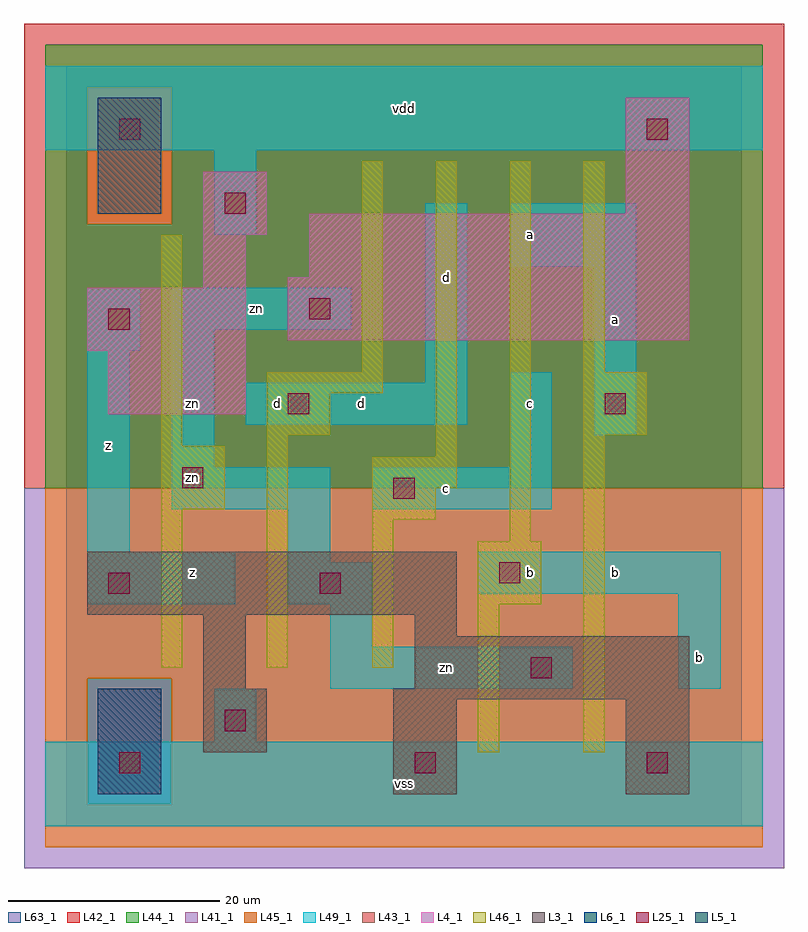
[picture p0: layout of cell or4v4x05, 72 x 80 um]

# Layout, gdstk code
import gdstk
lib = gdstk.Library(unit=1e-6, precision=1e-09)
def R(c, l, rs):  # rectangles x0, y0, x1, y1
    for r in rs: c.add(gdstk.rectangle(r[:2], r[2:], *l))
L3_1 = (3, 1)
L4_1 = (4, 1)
L5_1 = (5, 1)
L6_1 = (6, 1)
L25_1 = (25, 1)
L41_1 = (41, 1)
L42_1 = (42, 1)
L43_1 = (43, 1)
L44_1 = (44, 1)
L45_1 = (45, 1)
L46_1 = (46, 1)
L49_1 = (49, 1)
L63_1 = (63, 1)

or4v4x05 = lib.new_cell('or4v4x05')
R(or4v4x05, L3_1, [(31,3,37,12), (53,3,59,12), (13,7,19,13), (31,12,59,13), (13,13,17,20), (33,13,59,18), (33,18,37,20), (2,20,37,26)])
R(or4v4x05, L4_1, [(4,39,17,45), (2,45,17,51), (21,46,59,52), (13,51,17,56), (23,52,59,58), (13,56,19,62), (53,58,59,69)])
R(or4v4x05, L5_1, [(3,58,9,69)])
R(or4v4x05, L6_1, [(3,3,9,13), (3,3,9,13)])
R(or4v4x05, L25_1, [(5,5,7,7), (33,5,35,7), (55,5,57,7), (15,9,17,11), (44,14,46,16), (4,22,6,24), (24,22,26,24), (41,23,43,25), (31,31,33,33), (11,32,13,34), (21,39,23,41), (51,39,53,41), (4,47,6,49), (23,48,25,50), (15,58,17,60), (5,65,7,67), (55,65,57,67)])
R(or4v4x05, L41_1, [(-4,-4,68,32)])
R(or4v4x05, L42_1, [(-4,32,68,76)])
R(or4v4x05, L43_1, [(3,3,9,13), (31,3,37,12), (53,3,59,12), (13,7,19,13), (31,12,59,13), (13,13,17,20), (33,13,59,18), (33,18,37,20), (2,20,37,26), (4,39,17,45), (2,45,17,51), (21,46,59,52), (13,51,17,56), (23,52,59,58), (13,56,19,62), (3,58,9,69), (53,58,59,69)])
R(or4v4x05, L44_1, [(2,2,10,14), (-2,32,66,57), (-2,57,2,70), (10,57,66,70), (-2,70,66,74)])
R(or4v4x05, L45_1, [(-2,-2,66,2), (-2,2,2,14), (10,2,66,14), (-2,14,66,32), (2,57,10,70)])
R(or4v4x05, L46_1, [(39,7,41,21), (49,7,51,37), (9,15,11,30), (19,15,21,37), (29,15,31,29), (39,21,45,27), (42,27,44,63), (29,29,35,32), (9,30,15,36), (29,32,37,35), (35,35,37,63), (9,36,11,56), (19,37,25,41), (49,37,55,43), (19,41,30,43), (28,43,30,63), (49,43,51,63)])
R(or4v4x05, L49_1, [(-2,0,66,8), (14,8,18,13), (25,13,48,17), (58,13,62,22), (25,17,29,21), (2,21,16,26), (21,21,29,25), (39,22,62,26), (21,25,25,30), (2,26,6,45), (10,30,25,34), (29,30,46,34), (10,34,14,47), (42,34,46,43), (50,37,54,53), (17,38,38,42), (34,42,38,59), (2,45,7,51), (10,47,27,51), (42,53,54,59), (14,56,18,64), (-2,64,66,72)])
R(or4v4x05, L63_1, [(0,0,64,72)])
or4v4x05.add(gdstk.Label('zn', (12,33), layer=49, texttype=1))
or4v4x05.add(gdstk.Label('z', (12,24), layer=49, texttype=1))
or4v4x05.add(gdstk.Label('z', (4,36), layer=49, texttype=1))
or4v4x05.add(gdstk.Label('zn', (12,40), layer=49, texttype=1))
or4v4x05.add(gdstk.Label('d', (20,40), layer=49, texttype=1))
or4v4x05.add(gdstk.Label('d', (28,40), layer=49, texttype=1))
or4v4x05.add(gdstk.Label('zn', (18,49), layer=49, texttype=1))
or4v4x05.add(gdstk.Label('vss', (32,4), layer=49, texttype=1))
or4v4x05.add(gdstk.Label('zn', (36,15), layer=49, texttype=1))
or4v4x05.add(gdstk.Label('c', (36,32), layer=49, texttype=1))
or4v4x05.add(gdstk.Label('b', (44,24), layer=49, texttype=1))
or4v4x05.add(gdstk.Label('c', (44,40), layer=49, texttype=1))
or4v4x05.add(gdstk.Label('d', (36,52), layer=49, texttype=1))
or4v4x05.add(gdstk.Label('a', (44,56), layer=49, texttype=1))
or4v4x05.add(gdstk.Label('vdd', (32,68), layer=49, texttype=1))
or4v4x05.add(gdstk.Label('b', (60,16), layer=49, texttype=1))
or4v4x05.add(gdstk.Label('b', (52,24), layer=49, texttype=1))
or4v4x05.add(gdstk.Label('a', (52,48), layer=49, texttype=1))

lib.write_gds('or4v4x05.gds')
